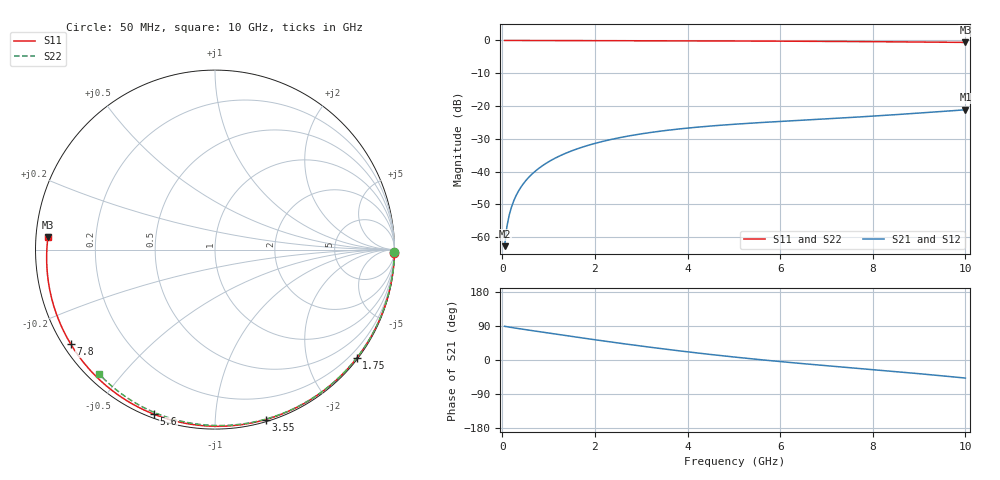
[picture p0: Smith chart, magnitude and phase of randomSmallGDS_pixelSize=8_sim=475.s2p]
! freq	dB(S11)	phase(S11)	dB(S12)	phase(S12)
!  dB(S21)	phase(S21)	dB(S22)	phase(S22)
!S-par simulation data
#  GHz  S  DB  R 50
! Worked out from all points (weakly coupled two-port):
!   200 points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, 50 MHz to 10 GHz, reference 50 ohm
!   highest |S21| = -21.13 dB at 10 GHz (marker M1); lowest = -62.7 dB at 50 MHz (marker M2)
!   lowest |S11| = -0.6 dB at 10 GHz (marker M3), VSWR 29.02, Z = 1.73 + j1.82 ohm
!   |S11| at or under -10 dB: nowhere
!   |S22| runs from -0.5 to 0.0 dB; largest |S21 - S12| = 0
!   S11 on the Smith chart (normalised r, x): 50 MHz: open; 1.75 GHz: 0.03, -2.94; 3.55 GHz: 0.02, -1.34; 5.6 GHz: 0.02, -0.70; 7.8 GHz: 0.02, -0.30; 10 GHz: 0.03, +0.04
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0.05  -0.00 -1.1  -62.70 88.9  -62.70 88.9  -0.00 -0.8
0.1  -0.00 -2.2  -56.69 87.8  -56.69 87.8  -0.00 -1.6
0.15  -0.00 -3.3  -53.19 86.8  -53.19 86.8  -0.00 -2.3
0.2  -0.00 -4.4  -50.71 85.8  -50.71 85.8  -0.00 -3.1
0.25  -0.00 -5.5  -48.79 84.8  -48.79 84.8  -0.00 -3.9
0.35  -0.01 -7.7  -45.90 82.9  -45.90 82.9  -0.00 -5.5
0.5  -0.01 -10.9  -42.85 80.2  -42.85 80.2  -0.01 -7.8
0.7  -0.02 -15.3  -39.99 76.5  -39.99 76.5  -0.01 -10.9
1  -0.03 -21.7  -36.98 71.1  -36.98 71.1  -0.02 -15.5
1.35  -0.04 -29.1  -34.49 64.9  -34.49 64.9  -0.03 -20.8
1.75  -0.05 -37.5  -32.41 57.8  -32.41 57.8  -0.04 -26.9
2.6  -0.07 -54.9  -29.45 43.3  -29.45 43.3  -0.06 -39.5
3.4  -0.10 -70.6  -27.67 30.5  -27.67 30.5  -0.07 -51.1
3.55  -0.10 -73.4  -27.41 28.2  -27.41 28.2  -0.08 -53.2
4.3  -0.13 -87.4  -26.32 17.3  -26.32 17.3  -0.10 -63.6
5.05  -0.16 -100.8  -25.50 7.3  -25.50 7.3  -0.12 -73.7
5.6  -0.19 -110.3  -25.01 0.5  -25.01 0.5  -0.14 -80.8
6.7  -0.26 -128.8  -24.14 -11.9  -24.14 -11.9  -0.20 -94.7
7.8  -0.35 -146.8  -23.24 -23.4  -23.24 -23.4  -0.26 -107.9
8.35  -0.40 -155.9  -22.75 -29.1  -22.75 -29.1  -0.31 -114.3
9.2  -0.50 -170.2  -21.94 -38.4  -21.94 -38.4  -0.38 -124.0
10  -0.60 175.8  -21.13 -47.7  -21.13 -47.7  -0.47 -133.0
